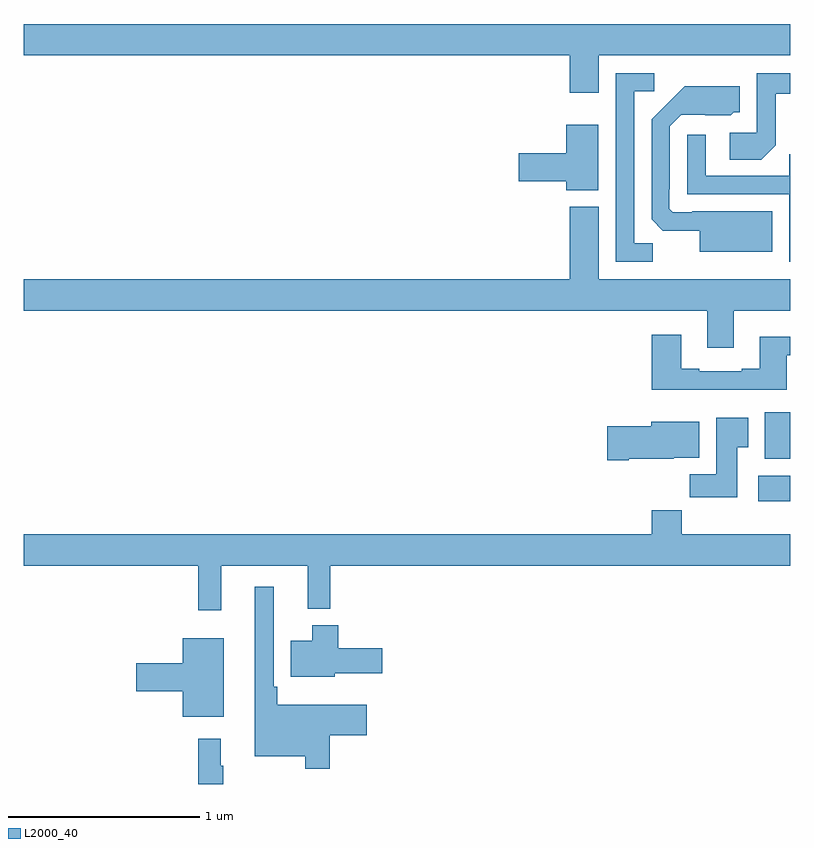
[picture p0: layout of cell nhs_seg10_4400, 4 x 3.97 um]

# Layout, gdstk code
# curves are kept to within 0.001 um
import gdstk
lib = gdstk.Library(unit=1e-6, precision=1e-09)
def R(c, l, rs):  # rectangles x0, y0, x1, y1
    for r in rs: c.add(gdstk.rectangle(r[:2], r[2:], *l))
def P(c, l, *ps):  # polygons
    for p in ps: c.add(gdstk.Polygon(p, *l))
L2000_40 = (2000, 40)

nhs_seg10_4400 = lib.new_cell('nhs_seg10_4400')
R(nhs_seg10_4400, L2000_40, [(362.835,1309.976,363,1310.11), (362.867,1310.198,363,1310.44)])
P(nhs_seg10_4400, L2000_40, [(362.002,1312.304),(363,1312.304),(363,1312.468),(359,1312.468),(359,1312.304),(361.85,1312.304),(361.85,1312.11),(362.002,1312.11)],
  [(362.283,1311.323),(362.187,1311.323),(362.187,1312.116),(362.29,1312.116),(362.29,1312.212),(362.091,1312.212),(362.091,1311.228),(362.283,1311.228)],
  [(362.925,1311.836),(362.925,1312.104),(363,1312.104),(363,1312.212),(362.826,1312.212),(362.826,1311.9),(362.685,1311.9),(362.685,1311.76),(362.849,1311.76)],
  [(362.908,1311.49),(362.488,1311.49),(362.488,1311.486),(362.388,1311.486),(362.37,1311.504),(362.37,1311.604),(362.373,1311.604),(362.373,1311.933),(362.433,1311.993),(362.69,1311.992),(362.706,1312.008),(362.737,1312.008),(362.737,1312.144),(362.449,1312.144),(362.277,1311.97),(362.277,1311.448),(362.336,1311.389),(362.528,1311.389),(362.528,1311.278),(362.908,1311.278)],
  [(361.999,1311.943),(361.832,1311.943),(361.832,1311.794),(361.584,1311.794),(361.584,1311.647),(361.832,1311.647),(361.832,1311.599),(361.999,1311.599)],
  [(363,1311.788),(362.995,1311.788),(362.995,1311.675),(362.559,1311.675),(362.559,1311.889),(362.463,1311.889),(362.463,1311.579),(362.997,1311.579),(362.997,1311.228),(363,1311.228)],
  [(362.707,1310.972),(363,1310.972),(363,1311.136),(362.002,1311.136),(362.002,1311.514),(361.85,1311.514),(361.85,1311.136),(359,1311.136),(359,1310.972),(362.567,1310.972),(362.567,1310.778),(362.707,1310.778)],
  [(362.983,1310.739),(363,1310.739),(363,1310.836),(362.843,1310.836),(362.843,1310.668),(362.747,1310.668),(362.747,1310.655),(362.527,1310.655),(362.527,1310.668),(362.431,1310.668),(362.431,1310.845),(362.279,1310.845),(362.279,1310.558),(362.983,1310.558)],
  [(362.725,1310.257),(362.782,1310.257),(362.782,1310.413),(362.615,1310.413),(362.615,1310.116),(362.476,1310.116),(362.476,1309.998),(362.725,1309.998)],
  [(362.158,1310.198),(362.394,1310.198),(362.394,1310.204),(362.527,1310.204),(362.527,1310.392),(362.276,1310.392),(362.276,1310.369),(362.046,1310.369),(362.046,1310.191),(362.158,1310.191)],
  [(360.029,1309.64),(360.482,1309.64),(360.482,1309.415),(360.599,1309.415),(360.599,1309.64),(363,1309.64),(363,1309.804),(362.435,1309.804),(362.435,1309.928),(362.279,1309.928),(362.279,1309.804),(359,1309.804),(359,1309.64),(359.911,1309.64),(359.911,1309.407),(360.029,1309.407)],
  [(360.596,1308.755),(360.79,1308.755),(360.79,1308.913),(360.323,1308.913),(360.323,1309.009),(360.303,1309.009),(360.303,1309.531),(360.206,1309.531),(360.206,1308.644),(360.468,1308.644),(360.468,1308.579),(360.596,1308.579)],
  [(360.624,1309.079),(360.871,1309.079),(360.871,1309.209),(360.641,1309.209),(360.641,1309.33),(360.506,1309.33),(360.506,1309.249),(360.392,1309.249),(360.392,1309.061),(360.624,1309.061)],
  [(360.043,1309.261),(359.828,1309.261),(359.828,1309.13),(359.586,1309.13),(359.586,1308.983),(359.828,1308.983),(359.828,1308.851),(360.043,1308.851)],
  [(360.04,1308.596),(360.028,1308.596),(360.028,1308.736),(359.911,1308.736),(359.911,1308.5),(360.04,1308.5)])

lib.write_gds('nhs_seg10_4400.gds')
